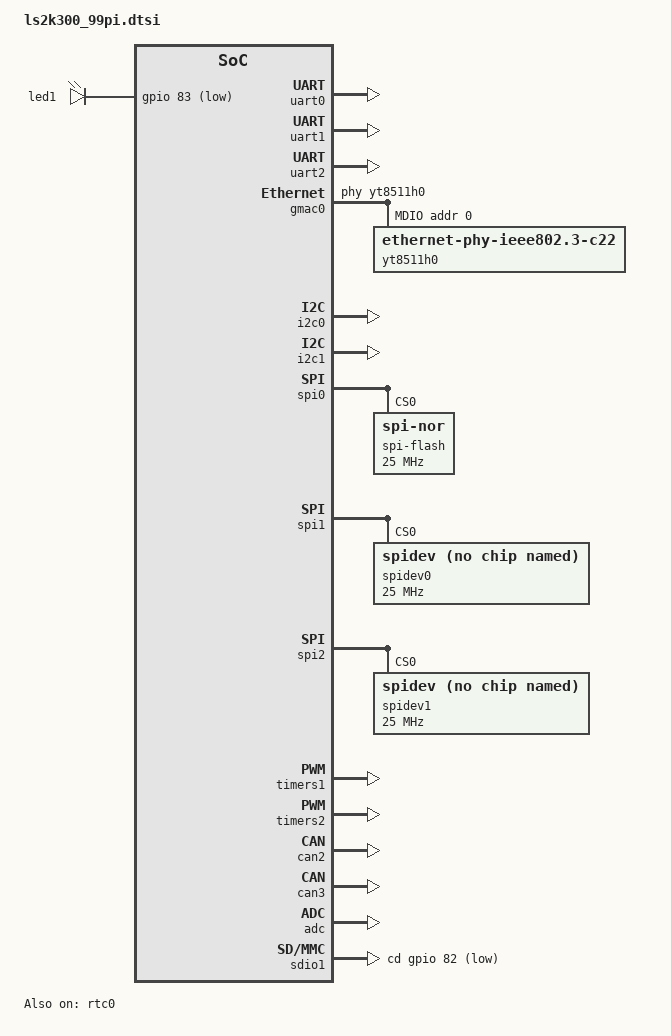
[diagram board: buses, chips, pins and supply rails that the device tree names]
// SPDX-License-Identifier: GPL-2.0
/*
 * Copyright (C) 2025 Loongson Technology Corporation Limited
 */

/ {
	chosen {
		stdout-path = "serial0:115200n8";
		bootargs = "earlycon";
	};

	/* not need memory node, we get memory info from boot params. */

	leds {
		compatible = "gpio-leds";

		led1 {
			label = "led1";
			gpios = <&gpio 83 GPIO_ACTIVE_LOW>;
			linux,default-trigger = "heartbeat";
			default-state = "on";
		};
	};

	reserved-memory {
		#address-cells = <2>;
		#size-cells = <2>;
		ranges;

		linux,cma {
			compatible = "shared-dma-pool";
			reusable;
			size = <0 0x02000000>;
			linux,cma-default;
		};
	};
};

&uart0 {
	status = "okay";
};

&uart1 {
	status = "okay";
};

&uart2 {
	status = "okay";
};

&gmac0 {
	status = "okay";
	phy-handle = <&yt8511h0>;
	mdio {
		compatible = "snps,dwmac-mdio";
		#address-cells = <1>;
		#size-cells = <0>;

		yt8511h0: ethernet-phy@0 {
			compatible = "ethernet-phy-ieee802.3-c22";
			reg = <0>;
			motorcomm,led0_cfg = <0x40>; //千兆常亮
			motorcomm,led1_cfg = <0x30>; //百兆 十兆常亮
			motorcomm,led2_cfg = <0x2600>; //有数据时闪烁
		};
	};
};

&i2c0 {
	status = "okay";
};

&i2c1 {
	status = "okay";
};

&i2c2 {
	status = "disabled"; // 在 LCD 排线处
};

&spi0 {
	status = "okay";
	pinctrl-0 = <&qspi0_pins>;
	pinctrl-names = "default";

	spi-flash@0 {
		compatible = "jedec,spi-nor";
		spi-max-frequency = <25000000>;
		reg = <0>;
	};
};

&spi1 {
	status = "okay";

	spidev0@0 {
		compatible = "rohm,dh2228fv";
		reg = <0>;
		spi-max-frequency = <25000000>;
	};
};

&spi2 {
	status = "okay"; // 与 PWM0-3 的 MUX0 冲突

	spidev1@0 {
		compatible = "rohm,dh2228fv";
		reg = <0>;
		spi-max-frequency = <25000000>;
	};
};

&timers1 {
	status = "okay";
	/delete-property/ dmas;
	/delete-property/ dma-names;
	pinctrl-0 = <&atim3n_pin_m1>; // LCD PWM 背光，备用
	pinctrl-names = "default";

	pwm {
		compatible = "loongson,ls2k-pwm-timer";
		#pwm-cells = <2>;
		status = "okay";
	};
};

&timers2 {
	status = "okay";
	dmas = <&dma 2 0x400>, <&dma 3 0x400>;
	dma-names = "ch3", "ch4";
	pinctrl-0 = <&gtim2_pin_m1>, <&gtim3_pin_m1>;
	pinctrl-names = "default";

	pwm {
		compatible = "loongson,ls2k-pwm-timer";
		#pwm-cells = <2>;
		status = "okay";
	};
};

&pwm0 {
	status = "disabled";
	pinctrl-0 = <&pwm0_mux_m0>;
	pinctrl-names = "default";
};

&pwm1 {
	status = "disabled";
	pinctrl-0 = <&pwm1_mux_m0>;
	pinctrl-names = "default";
};

&pwm2 {
	status = "disabled";
	pinctrl-0 = <&pwm2_mux_m0>;
	pinctrl-names = "default";
};

&pwm3 {
	status = "disabled";
	pinctrl-0 = <&pwm3_mux_m0>;
	pinctrl-names = "default";
};

&can2 {
	status = "okay";
};

&can3 {
	status = "okay";
};

&adc {
	status = "okay";
};

&rtc0 {
	status = "okay";
};

&sdio1 {
	cd-gpios = <&gpio 82 GPIO_ACTIVE_LOW>;
	status = "okay";
};
